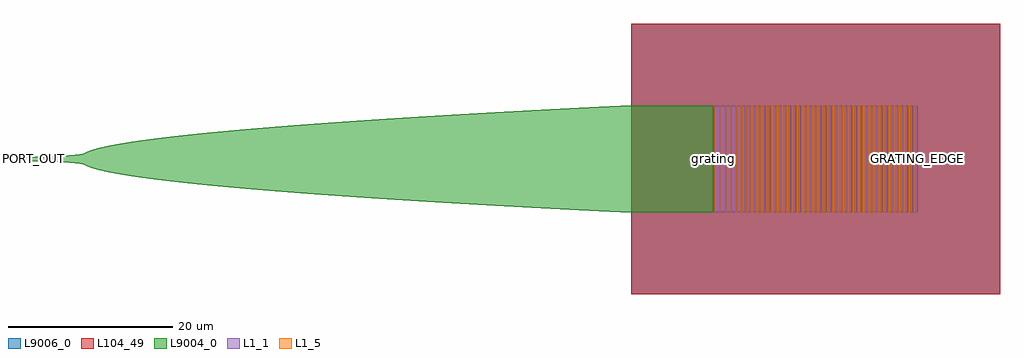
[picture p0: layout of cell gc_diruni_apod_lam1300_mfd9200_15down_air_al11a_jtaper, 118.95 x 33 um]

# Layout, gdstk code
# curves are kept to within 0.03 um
from math import pi, radians
import gdstk
lib = gdstk.Library(unit=1e-6, precision=1e-09)
def R(c, l, rs):  # rectangles x0, y0, x1, y1
    for r in rs: c.add(gdstk.rectangle(r[:2], r[2:], *l))
def A(c, l, x, y, w, h, nx, ny, dx, dy):  # array of equal rectangles
    R(c, l, [(x+i*dx, y+j*dy, x+i*dx+w, y+j*dy+h) for i in range(nx) for j in range(ny)])
def P(c, l, *ps):  # polygons
    for p in ps: c.add(gdstk.Polygon(p, *l))
L1_1 = (1, 1)
L1_5 = (1, 5)
L104_49 = (104, 49)
L9004_0 = (9004, 0)
L9006_0 = (9006, 0)

verticalgratingcoupler45 = lib.new_cell('VerticalGratingCoupler45RF')
A(verticalgratingcoupler45, L1_1, 0, -6.5, 0.605, 13, 3, 1, 0.675, 0)
A(verticalgratingcoupler45, L1_1, 4.64, -6.5, 0.47, 13, 33, 1, 0.62, 0)
R(verticalgratingcoupler45, L1_1, [(2.025,-6.5,2.625,6.5), (2.69,-6.5,3.265,6.5), (3.345,-6.5,3.895,6.5), (4,-6.5,4.51,6.5)])
A(verticalgratingcoupler45, L1_5, 0.1, -6.5, 0.11, 13, 3, 1, 0.675, 0)
A(verticalgratingcoupler45, L1_5, 4.55, -6.5, 0.32, 13, 33, 1, 0.62, 0)
R(verticalgratingcoupler45, L1_5, [(2.105,-6.5,2.24,6.5), (2.73,-6.5,2.915,6.5), (3.355,-6.5,3.58,6.5), (3.96,-6.5,4.23,6.5)])
R(verticalgratingcoupler45, L104_49, [(-10,-16.5,34.95,16.5)])
R(verticalgratingcoupler45, L9006_0, [(-10,-16.5,34.95,16.5)])
verticalgratingcoupler45.add(gdstk.Label('INPUT', (0,0), layer=9001, texttype=5))
verticalgratingcoupler45.add(gdstk.Label('OTHERSIDE', (24.95,0), layer=9001, texttype=5))
verticalgratingcoupler45.add(gdstk.Label('sub!', (0,0), layer=61, texttype=31))

adiabaticpaths_1 = lib.new_cell('AdiabaticPaths_1')
P(adiabaticpaths_1, L9004_0, [(0,6.5),(10,6.5),(10,-6.5),(0,-6.5),(0,6.5)])
adiabaticpaths_1.add(gdstk.Label('PORT_IN', (0,0), layer=9004, texttype=54))
adiabaticpaths_1.add(gdstk.Label('PORT_OUT', (10,0), layer=9004, texttype=54))
adiabaticpaths_1.add(gdstk.Label('sub!', (0,0), layer=61, texttype=31))

gdsimport = lib.new_cell('GDSImport')
P(gdsimport, L9004_0, [(64.75,-1.339),(64.941,-1.291),(64.941,1.291),(64.749,1.34)],
  [(64.943,-1.291),(65.124,-1.243),(65.124,1.243),(64.941,1.291)],
  [(65.126,-1.243),(65.3,-1.195),(65.3,1.195),(65.124,1.243)],
  [(65.302,-1.194),(65.466,-1.146),(65.466,1.146),(65.3,1.195)],
  [(65.467,-1.146),(65.632,-1.095),(65.632,1.095),(65.466,1.146)],
  [(65.633,-1.095),(65.794,-1.042),(65.794,1.042),(65.632,1.095)],
  [(65.796,-1.041),(65.97,-0.98),(65.97,0.98),(65.794,1.042)],
  [(65.972,-0.979),(66.152,-0.908),(66.152,0.908),(65.97,0.98)],
  [(66.154,-0.908),(66.347,-0.822),(66.347,0.822),(66.152,0.908)],
  [(66.348,-0.822),(66.557,-0.722),(66.557,0.722),(66.347,0.822)],
  [(66.559,-0.721),(66.747,-0.643),(66.747,0.643),(66.557,0.722)],
  [(66.748,-0.643),(66.924,-0.588),(66.924,0.588),(66.747,0.643)],
  [(66.926,-0.588),(67.285,-0.54),(67.285,0.54),(66.924,0.588)],
  [(67.286,-0.539),(67.742,-0.491),(67.74,0.492),(67.285,0.54)],
  [(67.75,-0.491),(68.27,-0.443),(68.27,0.443),(67.742,0.491)],
  [(68.271,-0.442),(68.883,-0.395),(68.883,0.395),(68.27,0.443)],
  [(68.884,-0.394),(69.645,-0.347),(69.646,0.346),(68.883,0.395)],
  [(69.663,-0.346),(70.739,-0.298),(70.739,0.298),(69.646,0.346)],
  [(70.74,-0.297),(74,-0.25),(74,0.25),(70.739,0.298)],
  [(55.509,-2.761),(55.93,-2.713),(55.93,2.713),(55.499,2.762)],
  [(55.937,-2.713),(56.352,-2.664),(56.352,2.664),(55.93,2.713)],
  [(56.359,-2.664),(56.766,-2.615),(56.766,2.615),(56.352,2.664)],
  [(56.772,-2.615),(57.173,-2.566),(57.173,2.566),(56.766,2.615)],
  [(57.179,-2.566),(57.571,-2.517),(57.571,2.517),(57.173,2.566)],
  [(57.97,-2.467),(58.352,-2.419),(58.352,2.419),(57.968,2.468)],
  [(58.354,-2.418),(58.727,-2.37),(58.727,2.37),(58.352,2.419)],
  [(58.729,-2.369),(59.094,-2.321),(59.094,2.321),(58.727,2.37)],
  [(59.096,-2.32),(59.454,-2.272),(59.454,2.272),(59.094,2.321)],
  [(59.456,-2.271),(59.806,-2.223),(59.806,2.223),(59.454,2.272)],
  [(59.808,-2.222),(60.149,-2.174),(60.149,2.174),(59.806,2.223)],
  [(60.491,-2.124),(60.814,-2.075),(60.814,2.075),(60.486,2.124)],
  [(60.819,-2.075),(61.134,-2.026),(61.134,2.026),(60.814,2.075)],
  [(61.139,-2.026),(61.446,-1.977),(61.446,1.977),(61.134,2.026)],
  [(61.451,-1.977),(61.749,-1.928),(61.749,1.928),(61.446,1.977)],
  [(61.754,-1.928),(62.045,-1.879),(62.045,1.879),(61.749,1.928)],
  [(62.049,-1.879),(62.332,-1.83),(62.332,1.83),(62.045,1.879)],
  [(62.617,-1.78),(62.886,-1.732),(62.886,1.732),(62.615,1.781)],
  [(62.888,-1.731),(63.147,-1.683),(63.147,1.683),(62.886,1.732)],
  [(63.149,-1.682),(63.402,-1.634),(63.402,1.634),(63.147,1.683)],
  [(63.404,-1.633),(63.648,-1.585),(63.648,1.585),(63.402,1.634)],
  [(63.65,-1.584),(63.886,-1.536),(63.886,1.536),(63.648,1.585)],
  [(63.888,-1.535),(64.114,-1.487),(64.114,1.487),(63.886,1.536)],
  [(64.116,-1.486),(64.335,-1.438),(64.335,1.438),(64.114,1.487)],
  [(64.551,-1.388),(64.749,-1.34),(64.749,1.34),(64.548,1.388)],
  [(57.58,-2.516),(57.968,-2.468),(57.968,2.468),(57.571,2.468)],
  [(57.962,2.469),(57.571,2.517),(57.571,2.468)],
  [(60.151,-2.173),(60.486,-2.124),(60.486,2.124),(60.149,2.124)],
  [(60.484,2.125),(60.149,2.174),(60.149,2.124)],
  [(62.338,-1.829),(62.615,-1.781),(62.615,1.781),(62.332,1.781)],
  [(62.61,1.782),(62.332,1.83),(62.332,1.781)],
  [(64.337,-1.437),(64.548,-1.388),(64.548,1.388),(64.335,1.388)],
  [(64.546,1.389),(64.335,1.438),(64.335,1.388)],
  [(37.006,-4.382),(37.684,-4.334),(37.684,4.334),(37.004,4.383)],
  [(37.686,-4.333),(38.356,-4.285),(38.356,4.285),(37.684,4.334)],
  [(38.357,-4.284),(39.021,-4.236),(39.021,4.236),(38.356,4.285)],
  [(39.692,-4.186),(40.331,-4.137),(40.331,4.137),(39.681,4.186)],
  [(40.342,-4.137),(40.974,-4.088),(40.974,4.088),(40.331,4.137)],
  [(40.984,-4.088),(41.609,-4.039),(41.609,4.039),(40.974,4.088)],
  [(42.249,-3.989),(42.867,-3.941),(42.867,3.941),(42.247,3.99)],
  [(42.868,-3.94),(43.48,-3.892),(43.48,3.892),(42.867,3.941)],
  [(43.481,-3.891),(44.084,-3.843),(44.084,3.843),(43.48,3.892)],
  [(44.694,-3.793),(45.274,-3.744),(45.274,3.744),(44.684,3.793)],
  [(45.284,-3.744),(45.856,-3.695),(45.856,3.695),(45.274,3.744)],
  [(45.867,-3.695),(46.431,-3.646),(46.431,3.646),(45.856,3.695)],
  [(47.011,-3.596),(47.568,-3.548),(47.568,3.548),(47.009,3.597)],
  [(47.57,-3.547),(48.121,-3.499),(48.121,3.499),(47.568,3.548)],
  [(48.123,-3.498),(48.665,-3.45),(48.665,3.45),(48.121,3.499)],
  [(49.213,-3.4),(49.732,-3.351),(49.732,3.351),(49.203,3.4)],
  [(49.742,-3.351),(50.255,-3.302),(50.255,3.302),(49.732,3.351)],
  [(50.263,-3.302),(50.769,-3.253),(50.769,3.253),(50.255,3.302)],
  [(51.285,-3.203),(51.783,-3.155),(51.783,3.155),(51.283,3.204)],
  [(51.784,-3.154),(52.273,-3.106),(52.273,3.106),(51.783,3.155)],
  [(52.275,-3.105),(52.757,-3.057),(52.757,3.057),(52.273,3.106)],
  [(53.243,-3.007),(53.704,-2.958),(53.704,2.958),(53.235,3.007)],
  [(53.712,-2.958),(54.164,-2.909),(54.164,2.909),(53.704,2.958)],
  [(54.171,-2.909),(54.617,-2.86),(54.617,2.86),(54.164,2.909)],
  [(55.072,-2.81),(55.499,-2.762),(55.499,2.762),(55.071,2.811)],
  [(39.022,-4.235),(39.681,-4.186),(39.681,4.186),(39.021,4.186)],
  [(39.679,4.187),(39.021,4.236),(39.021,4.186)],
  [(41.622,-4.038),(42.247,-3.99),(42.247,3.99),(41.609,3.99)],
  [(42.235,3.991),(41.609,4.039),(41.609,3.99)],
  [(44.086,-3.842),(44.684,-3.793),(44.684,3.793),(44.084,3.793)],
  [(44.682,3.794),(44.084,3.843),(44.084,3.793)],
  [(46.443,-3.645),(47.009,-3.597),(47.009,3.597),(46.431,3.597)],
  [(46.997,3.598),(46.431,3.646),(46.431,3.597)],
  [(48.667,-3.449),(49.203,-3.4),(49.203,3.4),(48.665,3.4)],
  [(49.201,3.401),(48.665,3.45),(48.665,3.4)],
  [(50.779,-3.252),(51.283,-3.204),(51.283,3.204),(50.769,3.204)],
  [(51.273,3.205),(50.769,3.253),(50.769,3.204)],
  [(52.759,-3.056),(53.235,-3.007),(53.235,3.007),(52.757,3.007)],
  [(53.233,3.008),(52.757,3.057),(52.757,3.007)],
  [(54.627,-2.859),(55.071,-2.811),(55.071,2.811),(54.617,2.811)],
  [(55.061,2.812),(54.617,2.86),(54.617,2.811)],
  [(0.094,-6.499),(2.506,-6.404),(2.506,4.383),(0,4.383),(0,-6.5)],
  [(2.524,-6.404),(4.466,-6.308),(4.466,4.383),(2.506,4.383)],
  [(4.484,-6.308),(6.38,-6.212),(6.38,4.383),(4.466,4.383)],
  [(6.382,-6.211),(8.243,-6.115),(8.243,4.383),(6.38,4.383)],
  [(8.259,-6.115),(10.072,-6.019),(10.072,4.383),(8.243,4.383)],
  [(10.089,-6.019),(11.891,-5.923),(11.891,4.383),(10.072,4.383)],
  [(11.892,-5.922),(13.665,-5.827),(13.665,4.383),(11.891,4.383)],
  [(13.666,-5.826),(15.412,-5.73),(15.412,4.383),(13.665,4.383)],
  [(15.428,-5.73),(17.149,-5.634),(17.149,4.383),(15.412,4.383)],
  [(17.15,-5.633),(18.84,-5.538),(18.84,4.383),(17.149,4.383)],
  [(18.842,-5.537),(20.505,-5.441),(20.505,4.383),(18.84,4.383)],
  [(20.52,-5.441),(22.157,-5.345),(22.157,4.383),(20.505,4.383)],
  [(22.159,-5.344),(23.767,-5.249),(23.767,4.383),(22.157,4.383)],
  [(23.768,-5.248),(25.348,-5.152),(25.348,4.383),(23.767,4.383)],
  [(25.363,-5.152),(26.916,-5.056),(26.916,4.383),(25.348,4.383)],
  [(26.917,-5.055),(28.44,-4.96),(28.44,4.383),(26.916,4.383)],
  [(28.441,-4.959),(29.937,-4.863),(29.937,4.383),(28.44,4.383)],
  [(29.951,-4.863),(31.405,-4.767),(31.405,4.383),(29.937,4.383)],
  [(31.418,-4.767),(32.857,-4.671),(32.857,4.383),(31.405,4.383)],
  [(32.858,-4.67),(34.269,-4.574),(34.269,4.383),(32.857,4.383)],
  [(34.282,-4.574),(35.652,-4.478),(35.652,4.383),(34.269,4.383)],
  [(35.664,-4.478),(37.004,-4.383),(37.004,4.383),(35.652,4.383)],
  [(2.506,6.404),(0,6.5),(0,4.383),(2.506,4.383)],
  [(4.466,6.308),(2.506,6.404),(2.506,4.383),(4.466,4.383)],
  [(6.38,6.212),(4.466,6.308),(4.466,4.383),(6.38,4.383)],
  [(8.241,6.116),(6.38,6.212),(6.38,4.383),(8.241,4.383)],
  [(10.072,6.019),(8.241,6.116),(8.241,4.383),(10.072,4.383)],
  [(11.874,5.923),(10.072,6.019),(10.072,4.383),(11.874,4.383)],
  [(13.665,5.827),(11.874,5.923),(11.874,4.383),(13.665,4.383)],
  [(15.41,5.731),(13.665,5.827),(13.665,4.383),(15.41,4.383)],
  [(17.132,5.634),(15.41,5.731),(15.41,4.383),(17.132,4.383)],
  [(18.824,5.538),(17.132,5.634),(17.132,4.383),(18.824,4.383)],
  [(20.504,5.442),(18.824,5.538),(18.824,4.383),(20.504,4.383)],
  [(22.142,5.345),(20.504,5.442),(20.504,4.383),(22.142,4.383)],
  [(23.751,5.249),(22.142,5.345),(22.142,4.383),(23.751,4.383)],
  [(25.346,5.153),(23.751,5.249),(23.751,4.383),(25.346,4.383)],
  [(26.899,5.057),(25.346,5.153),(25.346,4.383),(26.899,4.383)],
  [(28.425,4.96),(26.899,5.057),(26.899,4.383),(28.425,4.383)],
  [(29.921,4.864),(28.425,4.96),(28.425,4.383),(29.921,4.383)],
  [(31.403,4.768),(29.921,4.864),(29.921,4.383),(31.403,4.383)],
  [(32.842,4.672),(31.403,4.768),(31.403,4.383),(32.842,4.383)],
  [(34.255,4.575),(32.842,4.672),(32.842,4.383),(34.255,4.383)],
  [(35.637,4.479),(34.255,4.575),(34.255,4.383),(35.637,4.383)],
  [(36.989,4.384),(35.637,4.479),(35.637,4.383)])
gdsimport.add(gdstk.Label('PORT_IN_LOWER', (0,3.25), layer=9004, texttype=0))
gdsimport.add(gdstk.Label('PORT_OUT_LOWER', (74,-0.025), layer=9004, texttype=0))
gdsimport.add(gdstk.Label('PORT_IN_UPPER', (0,3.25), layer=9004, texttype=0))
gdsimport.add(gdstk.Label('PORT_OUT_UPPER', (74,-0.025), layer=9004, texttype=0))
gdsimport.add(gdstk.Label('sub!', (0,0), layer=9004, texttype=0))
gdsimport.add(gdstk.Label('sub!', (0,0), layer=61, texttype=31))

joseptaper_1 = lib.new_cell('JosepTaper_1')
joseptaper_1.add(gdstk.Reference(gdsimport, (0,0)))
joseptaper_1.add(gdstk.Label('PORT0', (0,0), layer=1, texttype=54))
joseptaper_1.add(gdstk.Label('PORT1', (74,0), layer=1, texttype=54))
joseptaper_1.add(gdstk.Label('sub!', (0,0), layer=61, texttype=31))

gc_diruni_apod_lam1300_m = lib.new_cell('gc_diruni_apod_lam1300_mfd9200_15down_air_al11a_jtaper')
gc_diruni_apod_lam1300_m.add(gdstk.Reference(verticalgratingcoupler45, (0,0)))
gc_diruni_apod_lam1300_m.add(gdstk.Reference(adiabaticpaths_1, (0,0), rotation=pi))
gc_diruni_apod_lam1300_m.add(gdstk.Reference(joseptaper_1, (-10,0), rotation=pi))
gc_diruni_apod_lam1300_m.add(gdstk.Label('grating', (0,0), layer=9001, texttype=5))
gc_diruni_apod_lam1300_m.add(gdstk.Label('grating_to_taper_wg_out', (-10,0), layer=9004, texttype=54))
gc_diruni_apod_lam1300_m.add(gdstk.Label('PORT_OUT', (-84,0), layer=1, texttype=54))
gc_diruni_apod_lam1300_m.add(gdstk.Label('GRATING_EDGE', (24.95,0), layer=9001, texttype=5))
gc_diruni_apod_lam1300_m.add(gdstk.Label('INPUT', (-84,0), layer=1, texttype=54))
gc_diruni_apod_lam1300_m.add(gdstk.Label('sub!', (0,0), layer=61, texttype=31))

lib.write_gds('gc_diruni_apod_lam1300_mfd9200_15down_air_al11a_jtaper.gds')
